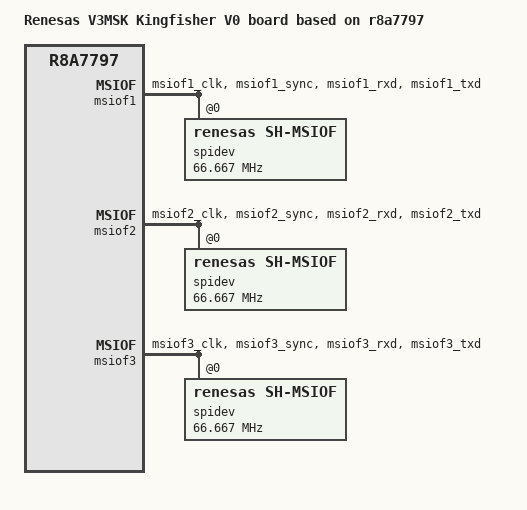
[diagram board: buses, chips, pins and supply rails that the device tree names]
/*
 * Device Tree Source for the V3MSK Kingfisher V0 board on r8a7797
 *
 * Copyright (C) 2017 Renesas Electronics Corp.
 * Copyright (C) 2017 Cogent Embedded, Inc.
 *
 * This file is licensed under the terms of the GNU General Public License
 * version 2.  This program is licensed "as is" without any warranty of any
 * kind, whether express or implied.
 */

#include "../r8a7797-v3msk-kf.dts"

/ {
	model = "Renesas V3MSK Kingfisher V0 board based on r8a7797";
};

&i2cswitch4 {
	reg = <0x74>;
};

&msiof1 {
	pinctrl-0 = <&msiof1_pins>;
	pinctrl-names = "default";
	status = "okay";

	spidev@0 {
		compatible = "renesas,sh-msiof";
		reg = <0>;
		spi-max-frequency = <66666666>;
		spi-cpha;
		spi-cpol;
	};
};

&msiof2 {
	pinctrl-0 = <&msiof2_pins>;
	pinctrl-names = "default";
	status = "okay";

	spidev@0 {
		compatible = "renesas,sh-msiof";
		reg = <0>;
		spi-max-frequency = <66666666>;
		spi-cpha;
		spi-cpol;
	};
};

&msiof3 {
	pinctrl-0 = <&msiof3_pins>;
	pinctrl-names = "default";
	status = "okay";

	spidev@0 {
		compatible = "renesas,sh-msiof";
		reg = <0>;
		spi-max-frequency = <66666666>;
		spi-cpha;
		spi-cpol;
	};
};

&pfc {
	msiof1_pins: spi2 {
		groups = "msiof1_clk", "msiof1_sync", "msiof1_rxd",
			 "msiof1_txd";
		function = "msiof1";
	};

	msiof2_pins: spi3 {
		groups = "msiof2_clk", "msiof2_sync", "msiof2_rxd",
			 "msiof2_txd";
		function = "msiof2";
	};

	msiof3_pins: spi4 {
		groups = "msiof3_clk", "msiof3_sync", "msiof3_rxd",
			 "msiof3_txd";
		function = "msiof3";
	};
};
